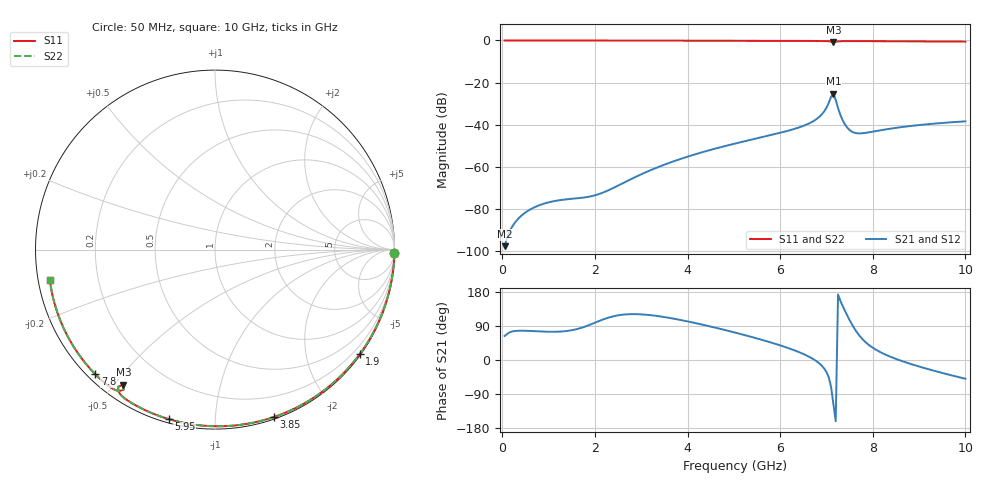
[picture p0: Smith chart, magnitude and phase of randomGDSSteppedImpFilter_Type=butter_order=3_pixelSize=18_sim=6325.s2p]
! freq	dB(S11)	phase(S11)	dB(S12)	phase(S12)
!  dB(S21)	phase(S21)	dB(S22)	phase(S22)
!S-par simulation data
#  GHz  S  DB  R 50
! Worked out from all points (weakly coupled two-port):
!   200 points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, 50 MHz to 10 GHz, reference 50 ohm
!   highest |S21| = -25.26 dB at 7.15 GHz (marker M1); lowest = -97.8 dB at 50 MHz (marker M2)
!   lowest |S11| = -0.8 dB at 7.15 GHz (marker M3), VSWR 20.98, Z = 3.05 - j26.4 ohm
!   |S11| at or under -10 dB: nowhere
!   |S22| runs from -0.8 to 0.0 dB; largest |S21 - S12| = 0
!   S11 on the Smith chart (normalised r, x): 50 MHz: open; 1.9 GHz: 0.03, -3.09; 3.85 GHz: 0.02, -1.41; 5.95 GHz: 0.02, -0.76; 7.8 GHz: 0.02, -0.43; 10 GHz: 0.03, -0.09
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0.05  -0.00 -1.0  -97.77 63.4  -97.77 63.4  -0.00 -1.0
0.6  -0.01 -11.5  -80.36 76.6  -80.36 76.6  -0.01 -11.5
1.1  -0.03 -21.0  -76.44 74.4  -76.44 74.4  -0.03 -21.0
1.75  -0.04 -33.1  -74.70 86.6  -74.70 86.6  -0.04 -33.1
1.9  -0.05 -35.9  -74.14 93.4  -74.14 93.4  -0.05 -35.9
2.25  -0.05 -42.3  -71.61 110.1  -71.61 110.1  -0.05 -42.3
3.4  -0.08 -62.9  -59.88 115.2  -59.88 115.2  -0.08 -62.9
3.85  -0.10 -70.6  -56.30 105.6  -56.30 105.6  -0.10 -70.6
5.05  -0.14 -90.7  -48.88 71.7  -48.88 71.7  -0.14 -90.7
5.95  -0.18 -105.3  -44.17 40.6  -44.17 40.6  -0.18 -105.3
6.4  -0.21 -112.5  -41.40 21.1  -41.40 21.1  -0.21 -112.5
6.7  -0.23 -117.4  -38.58 3.4  -38.58 3.4  -0.23 -117.4
6.95  -0.28 -121.9  -33.75 -22.3  -33.75 -22.3  -0.28 -121.9
7  -0.31 -123.0  -31.98 -31.8  -31.98 -31.8  -0.31 -123.0
7.1  -0.58 -125.2  -26.71 -71.3  -26.71 -71.3  -0.58 -125.2
7.15  -0.83 -124.2  -25.26 -117.3  -25.26 -117.3  -0.83 -124.2
7.3  -0.37 -125.1  -35.37 156.1  -35.37 156.1  -0.37 -125.1
7.45  -0.32 -128.0  -41.47 117.2  -41.47 117.2  -0.32 -128.0
7.6  -0.32 -130.5  -43.84 83.8  -43.84 83.8  -0.32 -130.5
7.8  -0.33 -133.8  -44.04 52.2  -44.04 52.2  -0.33 -133.8
8.35  -0.38 -142.6  -42.03 10.2  -42.03 10.2  -0.38 -142.6
10  -0.58 -169.6  -38.45 -49.6  -38.45 -49.6  -0.58 -169.6
